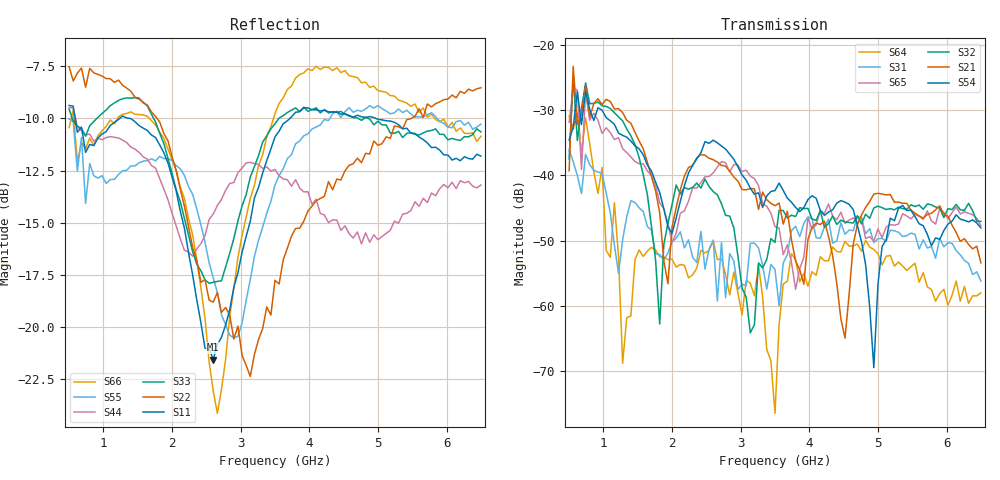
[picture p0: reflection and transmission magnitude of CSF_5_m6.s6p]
!Keysight Technologies,M9804A,MY58100912,A.14.10.03
!Date: Thursday, April 27, 2023 10:28:33
!Correction: S11(C  6-Port  )
!S12(C  6-Port  )
!S13(C  6-Port  )
!S14(C  6-Port  )
!S15(C  6-Port  )
!S16(C  6-Port  )
!S21(C  6-Port  )
!S22(C  6-Port  )
!S23(C  6-Port  )
!S24(C  6-Port  )
!S25(C  6-Port  )
!S26(C  6-Port  )
!S31(C  6-Port  )
!S32(C  6-Port  )
!S33(C  6-Port  )
!S34(C  6-Port  )
!S35(C  6-Port  )
!S36(C  6-Port  )
!S41(C  6-Port  )
!S42(C  6-Port  )
!S43(C  6-Port  )
!S44(C  6-Port  )
!S45(C  6-Port  )
!S46(C  6-Port  )
!S51(C  6-Port  )
!S52(C  6-Port  )
!S53(C  6-Port  )
!S54(C  6-Port  )
!S55(C  6-Port  )
!S56(C  6-Port  )
!S61(C  6-Port  )
!S62(C  6-Port  )
!S63(C  6-Port  )
!S64(C  6-Port  )
!S65(C  6-Port  )
!S66(C  6-Port  )
!S6P File: Measurement: :
# Hz S  RI  R 50
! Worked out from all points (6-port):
!   101 points, 500 MHz to 6.5 GHz, reference 50 ohm
!   strongest paths, dB at 500 MHz, 2 GHz, 3.5 GHz, 5 GHz, 6.5 GHz:
!     S54: -34.6, -48.9, -42.4, -56.7, -48.1
!     S21: -39.3, -47.9, -44.7, -42.8, -53.4
!     S32: -37.5, -44.5, -50.3, -44.7, -47.1
!     S65: -31.9, -50.3, -47.9, -48.3, -47.7
!     S31: -36.1, -50.2, -54.4, -49.7, -56.2
!     S64: -31.0, -52.9, -76.5, -52.0, -58.0
!   lowest |S11| = -21.6 dB at 2.6 GHz (marker M1), VSWR 1.18, Z = 42.6 + j2.07 ohm
!   |S11| at or under -10 dB: 588.2 MHz to 1.236 GHz (647.8 MHz wide, 71 % of centre); 1.391 GHz to 3.716 GHz (2.326 GHz wide, 91.1 % of centre); 4.971 GHz to end of sweep
